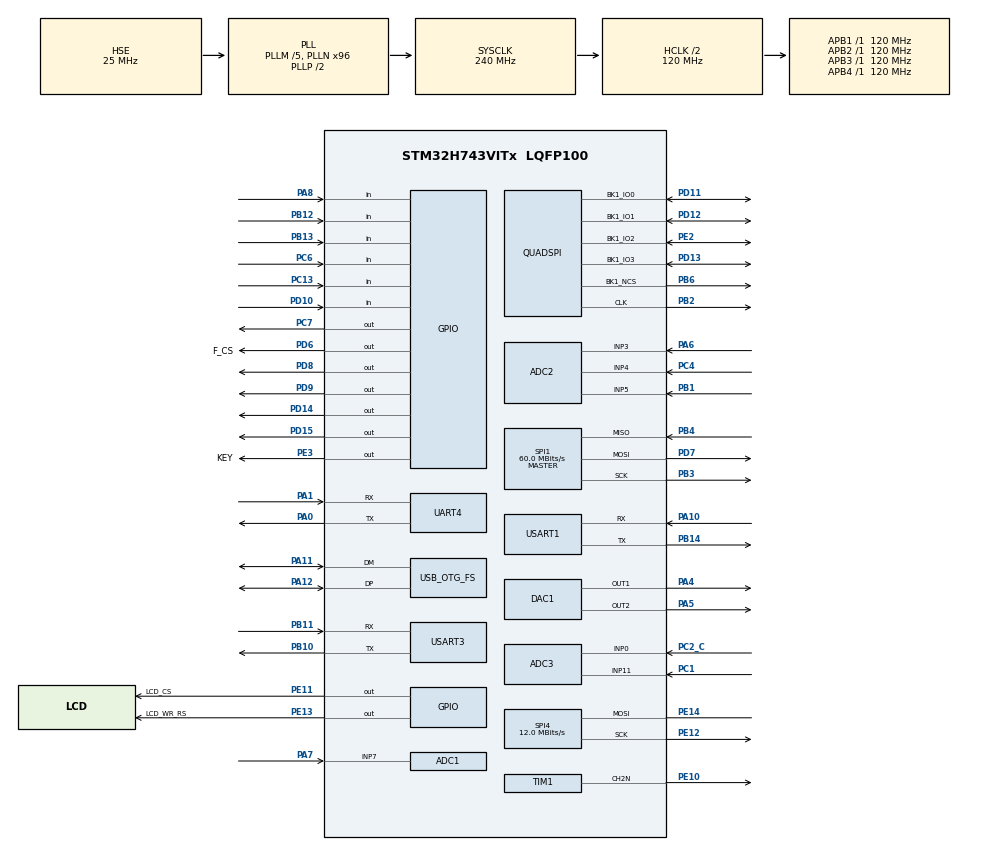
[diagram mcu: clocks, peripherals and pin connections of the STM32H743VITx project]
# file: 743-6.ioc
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ADC1.Channel-3\#ChannelRegularConversion=ADC_CHANNEL_7
ADC1.NbrOfConversionFlag=1
ADC1.OffsetNumber-3\#ChannelRegularConversion=ADC_OFFSET_NONE
ADC1.OffsetSignedSaturation-3\#ChannelRegularConversion=DISABLE
ADC1.Rank-3\#ChannelRegularConversion=1
ADC1.SamplingTime-3\#ChannelRegularConversion=ADC_SAMPLETIME_1CYCLE_5
ADC1.master=1
ADC2.Channel-0\#ChannelRegularConversion=ADC_CHANNEL_3
ADC2.NbrOfConversionFlag=1
ADC2.OffsetNumber-0\#ChannelRegularConversion=ADC_OFFSET_NONE
ADC2.OffsetSignedSaturation-0\#ChannelRegularConversion=DISABLE
ADC2.Rank-0\#ChannelRegularConversion=1
ADC2.SamplingTime-0\#ChannelRegularConversion=ADC_SAMPLETIME_1CYCLE_5
ADC3.Channel-1\#ChannelRegularConversion=ADC_CHANNEL_11
ADC3.NbrOfConversionFlag=1
ADC3.OffsetNumber-1\#ChannelRegularConversion=ADC_OFFSET_NONE
ADC3.OffsetSignedSaturation-1\#ChannelRegularConversion=DISABLE
ADC3.Rank-1\#ChannelRegularConversion=1
ADC3.SamplingTime-1\#ChannelRegularConversion=ADC_SAMPLETIME_1CYCLE_5
DAC1.DAC_Channel-DAC_OUT1_ExtAndInt=DAC_CHANNEL_1
DAC1.DAC_Channel-DAC_OUT2_ExtAndInt=DAC_CHANNEL_2
Mcu.Family=STM32H7
Mcu.Name=STM32H743VITx
Mcu.Package=LQFP100
NVIC.OTG_FS_IRQn=true\:1\:0\:true\:false\:true\:false\:true
NVIC.PriorityGroup=NVIC_PRIORITYGROUP_4
PA0.Mode=Asynchronous
PA0.Signal=UART4_TX
PA1.Mode=Asynchronous
PA1.Signal=UART4_RX
PA10.Mode=Asynchronous
PA10.Signal=USART1_RX
PA11.Mode=Device_Only
PA11.Signal=USB_OTG_FS_DM
PA12.Mode=Device_Only
PA12.Signal=USB_OTG_FS_DP
PA13\ (JTMS/SWDIO).Mode=Serial_Wire
PA13\ (JTMS/SWDIO).Signal=DEBUG_JTMS-SWDIO
PA14\ (JTCK/SWCLK).Mode=Serial_Wire
PA14\ (JTCK/SWCLK).Signal=DEBUG_JTCK-SWCLK
PA4.Signal=COMP_DAC11_group
PA5.Signal=COMP_DAC12_group
PA6.Signal=ADCx_INP3
PA7.Signal=ADCx_INP7
PA8.Signal=GPIO_Input
PB1.Signal=ADCx_INP5
PB10.Mode=Asynchronous
PB10.Signal=USART3_TX
PB11.Mode=Asynchronous
PB11.Signal=USART3_RX
PB12.Signal=GPIO_Input
PB13.Signal=GPIO_Input
PB14.Mode=Asynchronous
PB14.Signal=USART1_TX
PB2.GPIO_Speed=GPIO_SPEED_FREQ_VERY_HIGH
PB2.Mode=Single Bank 1
PB2.Signal=QUADSPI_CLK
PB3\ (JTDO/TRACESWO).GPIO_Speed=GPIO_SPEED_FREQ_MEDIUM
PB3\ (JTDO/TRACESWO).Mode=Full_Duplex_Master
PB3\ (JTDO/TRACESWO).Signal=SPI1_SCK
PB4\ (NJTRST).GPIO_Speed=GPIO_SPEED_FREQ_MEDIUM
PB4\ (NJTRST).Mode=Full_Duplex_Master
PB4\ (NJTRST).Signal=SPI1_MISO
PB6.GPIO_FM6=SYSCFG_PMCR_I2C_PB6_FMP
PB6.GPIO_Speed=GPIO_SPEED_FREQ_VERY_HIGH
PB6.Mode=Single Bank 1
PB6.Signal=QUADSPI_BK1_NCS
PC1.Signal=ADCx_INP11
PC10.Signal=SDMMC1_D2
PC11.Signal=SDMMC1_D3
PC12.Signal=SDMMC1_CK
PC13.Signal=GPIO_Input
PC14-OSC32_IN\ (OSC32_IN).Mode=LSE-External-Oscillator
PC14-OSC32_IN\ (OSC32_IN).Signal=RCC_OSC32_IN
PC15-OSC32_OUT\ (OSC32_OUT).Mode=LSE-External-Oscillator
PC15-OSC32_OUT\ (OSC32_OUT).Signal=RCC_OSC32_OUT
PC2_C.Mode=IN0-Single-Ended
PC2_C.Signal=ADC3_INP0
PC4.Signal=ADCx_INP4
PC6.Signal=GPIO_Input
PC7.Signal=GPIO_Output
PC8.Signal=SDMMC1_D0
PC9.Signal=SDMMC1_D1
PD10.Signal=GPIO_Input
PD11.GPIO_Speed=GPIO_SPEED_FREQ_VERY_HIGH
PD11.Mode=Single Bank 1
PD11.Signal=QUADSPI_BK1_IO0
PD12.GPIO_Speed=GPIO_SPEED_FREQ_VERY_HIGH
PD12.Mode=Single Bank 1
PD12.Signal=QUADSPI_BK1_IO1
PD13.GPIO_Speed=GPIO_SPEED_FREQ_VERY_HIGH
PD13.Mode=Single Bank 1
PD13.Signal=QUADSPI_BK1_IO3
PD14.Signal=GPIO_Output
PD15.Signal=GPIO_Output
PD2.Signal=SDMMC1_CMD
PD6.GPIO_Label=F_CS
PD6.GPIO_Speed=GPIO_SPEED_FREQ_VERY_HIGH
PD6.PinState=GPIO_PIN_SET
PD6.Signal=GPIO_Output
PD7.GPIO_Speed=GPIO_SPEED_FREQ_MEDIUM
PD7.Mode=Full_Duplex_Master
PD7.Signal=SPI1_MOSI
PD8.Signal=GPIO_Output
PD9.Signal=GPIO_Output
PE10.Mode=PWM Generation2 CH2N
PE10.Signal=TIM1_CH2N
PE11.GPIO_Label=LCD_CS
PE11.GPIO_Speed=GPIO_SPEED_FREQ_VERY_HIGH
PE11.PinState=GPIO_PIN_SET
PE11.Signal=GPIO_Output
PE12.GPIO_Speed=GPIO_SPEED_FREQ_MEDIUM
PE12.Mode=Simplex_Bidirectional_Master
PE12.Signal=SPI4_SCK
PE13.GPIO_Label=LCD_WR_RS
PE13.GPIO_Speed=GPIO_SPEED_FREQ_VERY_HIGH
PE13.PinState=GPIO_PIN_SET
PE13.Signal=GPIO_Output
PE14.GPIO_Speed=GPIO_SPEED_FREQ_MEDIUM
PE14.Mode=Simplex_Bidirectional_Master
PE14.Signal=SPI4_MOSI
PE2.GPIO_Speed=GPIO_SPEED_FREQ_VERY_HIGH
PE2.Mode=Single Bank 1
PE2.Signal=QUADSPI_BK1_IO2
PE3.GPIO_Label=KEY
PE3.Signal=GPIO_Output
PH0-OSC_IN\ (PH0).Mode=HSE-External-Oscillator
PH0-OSC_IN\ (PH0).Signal=RCC_OSC_IN
PH1-OSC_OUT\ (PH1).Mode=HSE-External-Oscillator
PH1-OSC_OUT\ (PH1).Signal=RCC_OSC_OUT
ProjectManager.HeapSize=0x2000
ProjectManager.StackSize=0x2000
ProjectManager.TargetToolchain=STM32CubeIDE
QUADSPI.ChipSelectHighTime=QSPI_CS_HIGH_TIME_3_CYCLE
QUADSPI.ClockMode=QSPI_CLOCK_MODE_3
QUADSPI.ClockPrescaler=2-1
QUADSPI.FlashSize=23-1
QUADSPI.SampleShifting=QSPI_SAMPLE_SHIFTING_HALFCYCLE
RCC.ADCFreq_Value=50390625
RCC.APB1Freq_Value=120000000
RCC.APB2Freq_Value=120000000
RCC.APB3Freq_Value=120000000
RCC.APB4Freq_Value=120000000
RCC.CortexFreq_Value=240000000
RCC.DIVM1=5
RCC.DIVM3=10
RCC.DIVN1=96
RCC.DIVN3=96
RCC.DIVP3=5
RCC.DIVQ1=4
RCC.DIVQ3=5
RCC.HCLKFreq_Value=120000000
RCC.HPRE=RCC_HCLK_DIV2
RCC.PLL2FRACN=0
RCC.PLL3FRACN=0
RCC.PLLFRACN=0
RCC.PLLSourceVirtual=RCC_PLLSOURCE_HSE
RCC.SYSCLKFreq_VALUE=240000000
RCC.SYSCLKSource=RCC_SYSCLKSOURCE_PLLCLK
RCC.Spi45ClockSelection=RCC_SPI45CLKSOURCE_PLL3
RCC.SupplySource=PWR_LDO_SUPPLY
RCC.USBCLockSelection=RCC_USBCLKSOURCE_PLL3
RCC.USBFreq_Value=48000000
RTC.HourFormat=RTC_HOURFORMAT_12
SH.ADCx_INP11.0=ADC3_INP11,IN11-Single-Ended
SH.ADCx_INP3.0=ADC2_INP3,IN3-Single-Ended
SH.ADCx_INP4.0=ADC2_INP4,IN4-Single-Ended
SH.ADCx_INP5.0=ADC2_INP5,IN5-Single-Ended
SH.ADCx_INP7.0=ADC1_INP7,IN7-Single-Ended
SH.COMP_DAC11_group.0=DAC1_OUT1,DAC_OUT1_ExtAndInt
SH.COMP_DAC12_group.0=DAC1_OUT2,DAC_OUT2_ExtAndInt
SPI1.BaudRatePrescaler=SPI_BAUDRATEPRESCALER_2
SPI1.CLKPolarity=SPI_POLARITY_LOW
SPI1.CalculateBaudRate=60.0 MBits/s
SPI1.DataSize=SPI_DATASIZE_8BIT
SPI1.Direction=SPI_DIRECTION_2LINES
SPI1.Mode=SPI_MODE_MASTER
SPI1.VirtualType=VM_MASTER
SPI4.BaudRatePrescaler=SPI_BAUDRATEPRESCALER_4
SPI4.CLKPolarity=SPI_POLARITY_LOW
SPI4.CalculateBaudRate=12.0 MBits/s
SPI4.DataSize=SPI_DATASIZE_8BIT
SPI4.Direction=SPI_DIRECTION_1LINE
SPI4.Mode=SPI_MODE_MASTER
SPI4.VirtualType=VM_MASTER
TIM1.Channel-PWM\ Generation2\ CH2N=TIM_CHANNEL_2
TIM1.OCNPolarity_2=TIM_OCNPOLARITY_LOW
TIM1.Period=100-1
TIM1.Prescaler=120-1
USART1.VirtualMode-Asynchronous=VM_ASYNC
USART3.VirtualMode-Asynchronous=VM_ASYNC
USB_DEVICE.CLASS_NAME_FS=MSC
USB_DEVICE.MSC_MEDIA_PACKET-MSC_FS=4096
USB_DEVICE.VirtualMode-MSC_FS=Msc
USB_DEVICE.VirtualModeFS=Msc_FS
USB_OTG_FS.VirtualMode=Device_Only
USB_OTG_FS.dma_enable=ENABLE
VP_RTC_VS_RTC_Activate.Mode=RTC_Enabled
VP_USB_DEVICE_VS_USB_DEVICE_MSC_FS.Mode=MSC_FS
board=custom

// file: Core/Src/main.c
/* USER CODE BEGIN Header */
/**
  ******************************************************************************
  * @file           : main.c
  * @brief          : Main program body
  ******************************************************************************
  * @attention
  *
  * <h2><center>&copy; Copyright (c) 2021 STMicroelectronics.
  * All rights reserved.</center></h2>
  *
  * This software component is licensed by ST under Ultimate Liberty license
  * SLA0044, the "License"; You may not use this file except in compliance with
  * the License. You may obtain a copy of the License at:
  *                             www.st.com/SLA0044
  *
  ******************************************************************************
  */
/* USER CODE END Header */
#include "main.h"
#include "adc.h"
#include "dac.h"
#include "rtc.h"
#include "spi.h"
#include "tim.h"
#include "usart.h"
#include "usb_device.h"
#include "gpio.h"

/* USER CODE BEGIN Includes */
#include "lcd.h"
/* USER CODE END Includes */

void SystemClock_Config(void);
void PeriphCommonClock_Config(void);

/* USER CODE BEGIN 0 */
static void CPU_CACHE_Enable(void)
{
  /* Enable I-Cache */
  SCB_EnableICache();

  /* Enable D-Cache */
  SCB_EnableDCache();
}

static void LED_Blink(uint32_t Hdelay,uint32_t Ldelay)
{
	HAL_GPIO_WritePin(KEY_GPIO_Port,KEY_Pin,GPIO_PIN_SET);
	HAL_Delay(Hdelay - 1);
	HAL_GPIO_WritePin(KEY_GPIO_Port,KEY_Pin,GPIO_PIN_RESET);
	HAL_Delay(Ldelay-1);
}

/**
  * @brief  Get the current time and date.
  * @param
  * @retval None
  */
static void RTC_CalendarShow(RTC_DateTypeDef *sdatestructureget,RTC_TimeTypeDef *stimestructureget)
{
  /* ?��?��?��?��?��?��谿珂?��?��?��?��?��?��?��?��?��?��?��?��?��?��?��??? ?��?��?��?��?��?��?��?��?��?��?��?��?��?��RTC?��?��?��?��?��?��?��?�� */
  /* Both time and date must be obtained or RTC cannot be read next time */
  /* Get the RTC current Time */
  HAL_RTC_GetTime(&hrtc, stimestructureget, RTC_FORMAT_BIN);
  /* Get the RTC current Date */
  HAL_RTC_GetDate(&hrtc, sdatestructureget, RTC_FORMAT_BIN);
}

/* USER CODE END 0 */

int main(void)
{
  /* USER CODE BEGIN 1 */

#ifdef W25Qxx
  SCB->VTOR = QSPI_BASE;
#endif
//MPU_Config();
//CPU_CACHE_Enable();

  /* USER CODE END 1 */

  /* MCU Configuration--------------------------------------------------------*/

  /* Reset of all peripherals, Initializes the Flash interface and the Systick. */
  HAL_Init();

  /* Configure the system clock */
  SystemClock_Config();

/* Configure the peripherals common clocks */
  PeriphCommonClock_Config();

  /* Initialize all configured peripherals */
  MX_GPIO_Init();
  MX_RTC_Init();
  MX_SPI1_Init();
  MX_SPI4_Init();
  MX_TIM1_Init();
  MX_USB_DEVICE_Init();
  MX_UART4_Init();
  MX_USART1_UART_Init();
  MX_USART3_UART_Init();
  MX_ADC3_Init();
  MX_ADC2_Init();
  MX_DAC1_Init();
  MX_ADC1_Init();
  /* USER CODE BEGIN 2 */
	uint8_t text[20];
	RTC_DateTypeDef sdatestructureget ;
	RTC_TimeTypeDef stimestructureget ;

	LCD_Test();
  /* USER CODE END 2 */

  /* Infinite loop */
  while (1)
  {

    /* USER CODE BEGIN 3 */
			RTC_CalendarShow(&sdatestructureget,&stimestructureget);

	//		if (stimestructureget.Seconds % 2 == 1)
	//			sprintf((char *)&text,"Time %02d:%02d:%02d",stimestructureget.Hours, stimestructureget.Minutes,stimestructureget.Seconds);
	//		else
				sprintf((char *)&text,"Time %02d:%02d:%02d",stimestructureget.Hours, stimestructureget.Minutes,stimestructureget.Seconds);
			LCD_ShowString(4, 58, 160, 16, 16, text);

				sprintf((char *)&text, "Date 20%02d-%02d-%02d ",sdatestructureget.Year,sdatestructureget.Month, sdatestructureget.Date);
			LCD_ShowString(4, 40, ST7735Ctx.Width, 16, 16, text);

			sprintf((char *)&text,"Tick: %d ms",HAL_GetTick());
			LCD_ShowString(4, 74, 160, 16, 16,text);

			LED_Blink(3,500);
  }
  /* USER CODE END 3 */
}

void SystemClock_Config(void)
{
  RCC_OscInitTypeDef RCC_OscInitStruct = {0};
  RCC_ClkInitTypeDef RCC_ClkInitStruct = {0};

  /** Supply configuration update enable
  */
  HAL_PWREx_ConfigSupply(PWR_LDO_SUPPLY);
  /** Configure the main internal regulator output voltage
  */
  __HAL_PWR_VOLTAGESCALING_CONFIG(PWR_REGULATOR_VOLTAGE_SCALE2);

  while(!__HAL_PWR_GET_FLAG(PWR_FLAG_VOSRDY)) {}
  /** Macro to configure the PLL clock source
  */
  __HAL_RCC_PLL_PLLSOURCE_CONFIG(RCC_PLLSOURCE_HSE);
  /** Initializes the RCC Oscillators according to the specified parameters
  * in the RCC_OscInitTypeDef structure.
  */
  RCC_OscInitStruct.OscillatorType = RCC_OSCILLATORTYPE_LSI|RCC_OSCILLATORTYPE_HSE;
  RCC_OscInitStruct.HSEState = RCC_HSE_ON;
  RCC_OscInitStruct.LSIState = RCC_LSI_ON;
  RCC_OscInitStruct.PLL.PLLState = RCC_PLL_ON;
  RCC_OscInitStruct.PLL.PLLSource = RCC_PLLSOURCE_HSE;
  RCC_OscInitStruct.PLL.PLLM = 5;
  RCC_OscInitStruct.PLL.PLLN = 96;
  RCC_OscInitStruct.PLL.PLLP = 2;
  RCC_OscInitStruct.PLL.PLLQ = 4;
  RCC_OscInitStruct.PLL.PLLR = 2;
  RCC_OscInitStruct.PLL.PLLRGE = RCC_PLL1VCIRANGE_2;
  RCC_OscInitStruct.PLL.PLLVCOSEL = RCC_PLL1VCOWIDE;
  RCC_OscInitStruct.PLL.PLLFRACN = 0;
  if (HAL_RCC_OscConfig(&RCC_OscInitStruct) != HAL_OK)
  {
    Error_Handler();
  }
  /** Initializes the CPU, AHB and APB buses clocks
  */
  RCC_ClkInitStruct.ClockType = RCC_CLOCKTYPE_HCLK|RCC_CLOCKTYPE_SYSCLK
                              |RCC_CLOCKTYPE_PCLK1|RCC_CLOCKTYPE_PCLK2
                              |RCC_CLOCKTYPE_D3PCLK1|RCC_CLOCKTYPE_D1PCLK1;
  RCC_ClkInitStruct.SYSCLKSource = RCC_SYSCLKSOURCE_PLLCLK;
  RCC_ClkInitStruct.SYSCLKDivider = RCC_SYSCLK_DIV1;
  RCC_ClkInitStruct.AHBCLKDivider = RCC_HCLK_DIV2;
  RCC_ClkInitStruct.APB3CLKDivider = RCC_APB3_DIV1;
  RCC_ClkInitStruct.APB1CLKDivider = RCC_APB1_DIV1;
  RCC_ClkInitStruct.APB2CLKDivider = RCC_APB2_DIV1;
  RCC_ClkInitStruct.APB4CLKDivider = RCC_APB4_DIV1;

  if (HAL_RCC_ClockConfig(&RCC_ClkInitStruct, FLASH_LATENCY_2) != HAL_OK)
  {
    Error_Handler();
  }
}

void PeriphCommonClock_Config(void)
{
  RCC_PeriphCLKInitTypeDef PeriphClkInitStruct = {0};

  /** Initializes the peripherals clock
  */
  PeriphClkInitStruct.PeriphClockSelection = RCC_PERIPHCLK_USB|RCC_PERIPHCLK_ADC
                              |RCC_PERIPHCLK_SPI4;
  PeriphClkInitStruct.PLL2.PLL2M = 32;
  PeriphClkInitStruct.PLL2.PLL2N = 129;
  PeriphClkInitStruct.PLL2.PLL2P = 2;
  PeriphClkInitStruct.PLL2.PLL2Q = 2;
  PeriphClkInitStruct.PLL2.PLL2R = 2;
  PeriphClkInitStruct.PLL2.PLL2RGE = RCC_PLL2VCIRANGE_3;
  PeriphClkInitStruct.PLL2.PLL2VCOSEL = RCC_PLL2VCOWIDE;
  PeriphClkInitStruct.PLL2.PLL2FRACN = 0;
  PeriphClkInitStruct.PLL3.PLL3M = 10;
  PeriphClkInitStruct.PLL3.PLL3N = 96;
  PeriphClkInitStruct.PLL3.PLL3P = 5;
  PeriphClkInitStruct.PLL3.PLL3Q = 5;
  PeriphClkInitStruct.PLL3.PLL3R = 2;
  PeriphClkInitStruct.PLL3.PLL3RGE = RCC_PLL3VCIRANGE_1;
  PeriphClkInitStruct.PLL3.PLL3VCOSEL = RCC_PLL3VCOWIDE;
  PeriphClkInitStruct.PLL3.PLL3FRACN = 0;
  PeriphClkInitStruct.Spi45ClockSelection = RCC_SPI45CLKSOURCE_PLL3;
  PeriphClkInitStruct.UsbClockSelection = RCC_USBCLKSOURCE_PLL3;
  PeriphClkInitStruct.AdcClockSelection = RCC_ADCCLKSOURCE_PLL2;
  if (HAL_RCCEx_PeriphCLKConfig(&PeriphClkInitStruct) != HAL_OK)
  {
    Error_Handler();
  }
}

void Error_Handler(void)
{
  __disable_irq();
  while (1)
  {
  }
}

/************************ (C) COPYRIGHT STMicroelectronics *****END OF FILE****/
